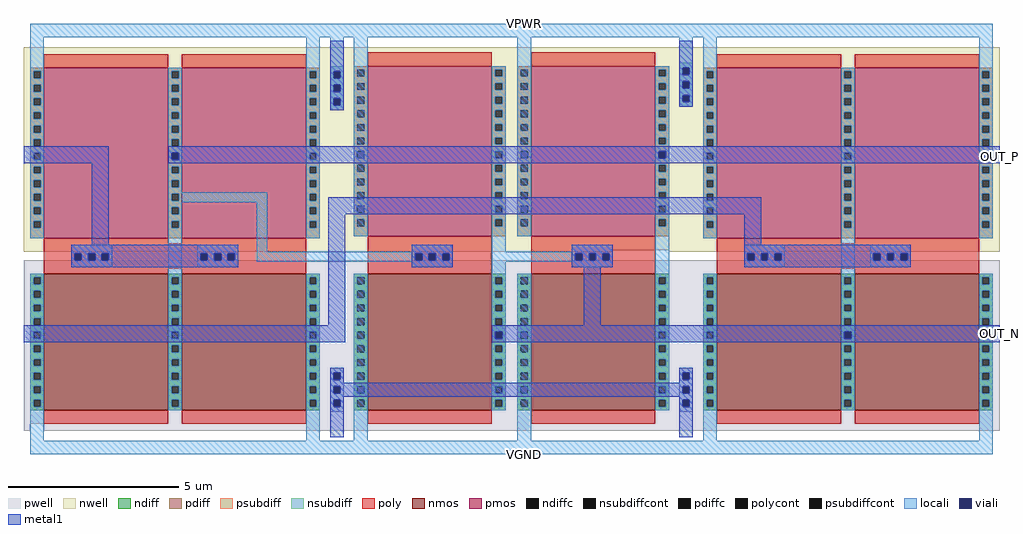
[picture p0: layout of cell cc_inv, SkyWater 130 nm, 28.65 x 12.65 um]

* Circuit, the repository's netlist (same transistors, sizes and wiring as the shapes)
** sch_path: /home/toind/work/sislab_vnu/vco_adc2/xschem/lib/cc_inv.sch
.subckt cc_inv inp inn outp outn VGND VDDA GND
*.PININFO outp:O inn:I VGND:B outn:O inp:I VDDA:B GND:B
Xi_1 inp outp VGND VDDA GND main_inv
Xi_2 inn outn VGND VDDA GND main_inv
Xi_3 outp outn VGND VDDA GND aux_inv
Xi_4 outn outp VGND VDDA GND aux_inv
.ends

* expanding   symbol:  main_inv.sym # of pins=5
** sym_path: /home/toind/work/sislab_vnu/vco_adc2/xschem/lib/main_inv.sym
** sch_path: /home/toind/work/sislab_vnu/vco_adc2/xschem/lib/main_inv.sch
.subckt main_inv A Y VGND VDDA GND
*.PININFO VDDA:B VGND:B A:I Y:O GND:B
XM2 Y A VGND GND sky130_fd_pr__nfet_01v8 L=3.65 W=8 nf=2 m=1
XM1 Y A VDDA VDDA sky130_fd_pr__pfet_01v8 L=3.65 W=10 nf=2 m=1
.ends


* expanding   symbol:  aux_inv.sym # of pins=5
** sym_path: /home/toind/work/sislab_vnu/vco_adc2/xschem/lib/aux_inv.sym
** sch_path: /home/toind/work/sislab_vnu/vco_adc2/xschem/lib/aux_inv.sch
.subckt aux_inv A Y VGND VDDA GND
*.PININFO VDDA:B VGND:B A:I Y:O GND:B
XM3 Y A VGND GND sky130_fd_pr__nfet_01v8 L=3.65 W=4 nf=1 m=1
XM2 Y A VDDA VDDA sky130_fd_pr__pfet_01v8 L=3.65 W=5 nf=1 m=1
.ends

.end

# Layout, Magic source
magic
tech sky130A
<< nwell >>
rect -60 1080 2805 1105
rect -60 925 -40 1080
rect 0 1070 1935 1080
rect 0 1060 910 1070
rect 950 1060 1390 1070
rect 1430 1060 1935 1070
rect 0 925 895 1060
rect -60 885 895 925
rect 1695 925 1935 1060
rect 1975 970 2805 1080
rect 1975 925 2710 970
rect 1695 885 2710 925
rect -60 550 2710 885
rect -60 515 1795 550
rect -60 505 1670 515
rect 1835 505 2710 550
<< pwell >>
rect -60 470 1670 480
rect -60 440 1795 470
rect 1835 440 2710 480
rect -60 160 0 440
rect 815 160 2710 440
rect -60 -20 -40 160
rect 815 40 910 160
rect 0 0 910 40
rect 950 5 1390 160
rect 1430 5 1935 160
rect 1975 120 2710 160
rect 1975 5 2805 120
rect 950 0 2805 5
rect 0 -20 2805 0
<< psubdiff >>
rect 840 150 880 165
rect 840 130 850 150
rect 870 130 880 150
rect 840 110 880 130
rect 840 90 850 110
rect 870 90 880 110
rect 840 70 880 90
rect 840 50 850 70
rect 870 50 880 70
rect 840 35 880 50
rect 1865 150 1905 165
rect 1865 130 1875 150
rect 1895 130 1905 150
rect 1865 110 1905 130
rect 1865 90 1875 110
rect 1895 90 1905 110
rect 1865 70 1905 90
rect 1865 50 1875 70
rect 1895 50 1905 70
rect 1865 35 1905 50
<< nsubdiff >>
rect 840 1035 880 1050
rect 840 1015 850 1035
rect 870 1015 880 1035
rect 840 995 880 1015
rect 840 975 850 995
rect 870 975 880 995
rect 840 955 880 975
rect 840 935 850 955
rect 870 935 880 955
rect 840 920 880 935
rect 1865 1045 1905 1060
rect 1865 1025 1875 1045
rect 1895 1025 1905 1045
rect 1865 1005 1905 1025
rect 1865 985 1875 1005
rect 1895 985 1905 1005
rect 1865 965 1905 985
rect 1865 945 1875 965
rect 1895 945 1905 965
rect 1865 930 1905 945
<< psubdiffcont >>
rect 850 130 870 150
rect 850 90 870 110
rect 850 50 870 70
rect 1875 130 1895 150
rect 1875 90 1895 110
rect 1875 50 1895 70
<< nsubdiffcont >>
rect 850 1015 870 1035
rect 850 975 870 995
rect 850 935 870 955
rect 1875 1025 1895 1045
rect 1875 985 1895 1005
rect 1875 945 1895 965
<< polycont >>
rect 1090 480 1110 500
rect 1130 480 1150 500
rect 1170 480 1190 500
rect 1560 480 1580 500
rect 1600 480 1620 500
rect 1640 480 1660 500
<< locali >>
rect 735 1135 2040 1175
rect 840 1035 880 1135
rect 910 1050 950 1135
rect 1390 1050 1430 1135
rect 840 1015 850 1035
rect 870 1015 880 1035
rect 840 995 880 1015
rect 840 975 850 995
rect 870 975 880 995
rect 840 955 880 975
rect 840 935 850 955
rect 870 935 880 955
rect 840 920 880 935
rect 1865 1045 1905 1135
rect 1865 1025 1875 1045
rect 1895 1025 1905 1045
rect 1865 1005 1905 1025
rect 1865 985 1875 1005
rect 1895 985 1905 1005
rect 1865 965 1905 985
rect 1865 945 1875 965
rect 1895 945 1905 965
rect 1865 930 1905 945
rect 405 650 655 680
rect 625 505 655 650
rect 1080 505 1200 525
rect 1550 505 1670 525
rect 625 500 1200 505
rect 625 480 1090 500
rect 1110 480 1130 500
rect 1150 480 1170 500
rect 1190 480 1200 500
rect 625 475 1200 480
rect 1355 500 1670 505
rect 1355 480 1560 500
rect 1580 480 1600 500
rect 1620 480 1640 500
rect 1660 480 1670 500
rect 1355 475 1670 480
rect 1080 460 1200 475
rect 1550 460 1670 475
rect 840 150 880 165
rect 840 130 850 150
rect 870 130 880 150
rect 840 110 880 130
rect 840 90 850 110
rect 870 90 880 110
rect 840 70 880 90
rect 840 50 850 70
rect 870 50 880 70
rect 840 35 880 50
rect 1865 150 1905 165
rect 1865 130 1875 150
rect 1895 130 1905 150
rect 1865 110 1905 130
rect 1865 90 1875 110
rect 1895 90 1905 110
rect 1865 70 1905 90
rect 1865 50 1875 70
rect 1895 50 1905 70
rect 910 -50 950 40
rect 1390 -50 1430 40
rect 1865 35 1905 50
rect 575 -90 1970 -50
<< viali >>
rect 850 1015 870 1035
rect 850 975 870 995
rect 850 935 870 955
rect 1875 1025 1895 1045
rect 1875 985 1895 1005
rect 1875 945 1895 965
rect 375 775 395 795
rect 1805 780 1825 800
rect 1090 480 1110 500
rect 1130 480 1150 500
rect 1170 480 1190 500
rect 1560 480 1580 500
rect 1600 480 1620 500
rect 1640 480 1660 500
rect 1325 250 1345 270
rect 2350 250 2370 270
rect 850 130 870 150
rect 850 90 870 110
rect 850 50 870 70
rect 1875 130 1895 150
rect 1875 90 1895 110
rect 1875 50 1895 70
<< metal1 >>
rect 840 1035 880 1125
rect 840 1015 850 1035
rect 870 1015 880 1035
rect 840 995 880 1015
rect 840 975 850 995
rect 870 975 880 995
rect 840 955 880 975
rect 840 935 850 955
rect 870 935 880 955
rect 840 920 880 935
rect 1865 1045 1905 1125
rect 1865 1025 1875 1045
rect 1895 1025 1905 1045
rect 1865 1005 1905 1025
rect 1865 985 1875 1005
rect 1895 985 1905 1005
rect 1865 965 1905 985
rect 1865 945 1875 965
rect 1895 945 1905 965
rect 1865 930 1905 945
rect -60 765 190 815
rect 365 800 2805 815
rect 365 795 1805 800
rect 365 775 375 795
rect 395 780 1805 795
rect 1825 780 2805 800
rect 395 775 2805 780
rect 365 765 2805 775
rect 140 525 190 765
rect 835 615 2105 665
rect 835 290 885 615
rect 2055 525 2105 615
rect 1080 500 1200 525
rect 1080 480 1090 500
rect 1110 480 1130 500
rect 1150 480 1170 500
rect 1190 480 1200 500
rect 1080 460 1200 480
rect 1550 500 1670 525
rect 1550 480 1560 500
rect 1580 480 1600 500
rect 1620 480 1640 500
rect 1660 480 1670 500
rect 1550 460 1670 480
rect 1585 290 1635 460
rect -60 240 885 290
rect 1315 270 2805 290
rect 1315 250 1325 270
rect 1345 250 2350 270
rect 2370 250 2805 270
rect 1315 240 2805 250
rect 840 150 880 165
rect 840 130 850 150
rect 870 130 880 150
rect 840 120 880 130
rect 1865 150 1905 165
rect 1865 130 1875 150
rect 1895 130 1905 150
rect 1865 120 1905 130
rect 840 110 1905 120
rect 840 90 850 110
rect 870 90 1875 110
rect 1895 90 1905 110
rect 840 80 1905 90
rect 840 70 880 80
rect 840 50 850 70
rect 870 50 880 70
rect 840 -40 880 50
rect 1865 70 1905 80
rect 1865 50 1875 70
rect 1895 50 1905 70
rect 1865 -40 1905 50
use aux_inv_vco  aux_inv_vco_0
transform 1 0 885 0 1 500
box 0 -500 490 590
use aux_inv_vco  aux_inv_vco_1
transform 1 0 1365 0 1 500
box 0 -500 490 590
use main_inv_vco  main_inv_vco_0
transform 1 0 -1060 0 1 545
box 1000 -635 1890 630
use main_inv_vco  main_inv_vco_1
transform 1 0 915 0 1 545
box 1000 -635 1890 630
<< labels >>
rlabel metal1 2805 785 2805 785 3 OUT_P
port 3 e
rlabel metal1 2805 265 2805 265 3 OUT_N
port 4 e
rlabel locali 1410 1175 1410 1175 1 VPWR
port 5 n
rlabel locali 1410 -90 1410 -90 5 VGND
port 6 s
<< end >>

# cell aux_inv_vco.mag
magic
tech sky130A
<< nwell >>
rect 0 10 490 590
<< poly >>
rect 65 -20 430 10
<< locali >>
rect 25 50 65 550
rect 430 -60 470 50
rect 25 -460 65 -60
use nmos_vco_aux  nmos_vco_aux_0
transform 1 0 65 0 1 -460
box -60 -40 425 440
use pmos_vco_aux  pmos_vco_aux_0
transform 1 0 65 0 1 50
box -65 -40 425 540
<< labels >>
rlabel locali 470 -5 470 -5 3 D
port 1 e
rlabel poly 65 -5 65 -5 7 G
port 2 w
rlabel locali 45 50 45 50 5 S_P
port 3 s
rlabel locali 45 -460 45 -460 5 S_N
port 4 s
rlabel nwell 15 575 15 575 1 VPWR
port 5 n
<< end >>

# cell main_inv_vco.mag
magic
tech sky130A
<< nwell >>
rect 1425 500 1465 540
rect 1830 -40 1890 540
<< poly >>
rect 1060 -45 1425 -40
rect 1060 -65 1150 -45
rect 1170 -65 1190 -45
rect 1210 -65 1230 -45
rect 1250 -65 1425 -45
rect 1465 -45 1830 -40
rect 1465 -65 1520 -45
rect 1540 -65 1560 -45
rect 1580 -65 1600 -45
rect 1620 -65 1830 -45
<< polycont >>
rect 1150 -65 1170 -45
rect 1190 -65 1210 -45
rect 1230 -65 1250 -45
rect 1520 -65 1540 -45
rect 1560 -65 1580 -45
rect 1600 -65 1620 -45
<< locali >>
rect 1020 590 1870 630
rect 1020 500 1060 590
rect 1830 500 1870 590
rect 1140 -45 1260 -20
rect 1140 -65 1150 -45
rect 1170 -65 1190 -45
rect 1210 -65 1230 -45
rect 1250 -65 1260 -45
rect 1140 -85 1260 -65
rect 1425 -105 1465 0
rect 1510 -45 1630 -20
rect 1510 -65 1520 -45
rect 1540 -65 1560 -45
rect 1580 -65 1600 -45
rect 1620 -65 1630 -45
rect 1510 -85 1630 -65
rect 1020 -595 1060 -505
rect 1830 -595 1870 -505
rect 1020 -635 1870 -595
<< viali >>
rect 1150 -65 1170 -45
rect 1190 -65 1210 -45
rect 1230 -65 1250 -45
rect 1520 -65 1540 -45
rect 1560 -65 1580 -45
rect 1600 -65 1620 -45
<< metal1 >>
rect 1140 -45 1630 -20
rect 1140 -65 1150 -45
rect 1170 -65 1190 -45
rect 1210 -65 1230 -45
rect 1250 -65 1520 -45
rect 1540 -65 1560 -45
rect 1580 -65 1600 -45
rect 1620 -65 1630 -45
rect 1140 -85 1630 -65
use nmos_vco  nmos_vco_0
transform 1 0 1060 0 1 -505
box -60 -130 830 490
use pmos_vco  pmos_vco_0
transform 1 0 1060 0 1 0
box -60 -90 830 630
<< labels >>
rlabel locali 1445 -5 1445 -5 1 D
port 1 n
rlabel metal1 1445 -50 1445 -50 1 G
port 2 n
rlabel locali 1440 600 1440 600 1 S_P
port 3 n
rlabel locali 1445 -600 1445 -600 1 S_N
port 4 n
rlabel nwell 1445 530 1445 530 1 VPWR
port 5 n
<< end >>

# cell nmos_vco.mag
magic
tech sky130A
<< pwell >>
rect -60 -40 830 440
<< nmos >>
rect 0 0 365 400
rect 405 0 770 400
<< ndiff >>
rect -40 390 0 400
rect -40 370 -30 390
rect -10 370 0 390
rect -40 350 0 370
rect -40 330 -30 350
rect -10 330 0 350
rect -40 310 0 330
rect -40 290 -30 310
rect -10 290 0 310
rect -40 270 0 290
rect -40 250 -30 270
rect -10 250 0 270
rect -40 230 0 250
rect -40 210 -30 230
rect -10 210 0 230
rect -40 190 0 210
rect -40 170 -30 190
rect -10 170 0 190
rect -40 150 0 170
rect -40 130 -30 150
rect -10 130 0 150
rect -40 110 0 130
rect -40 90 -30 110
rect -10 90 0 110
rect -40 70 0 90
rect -40 50 -30 70
rect -10 50 0 70
rect -40 30 0 50
rect -40 10 -30 30
rect -10 10 0 30
rect -40 0 0 10
rect 365 390 405 400
rect 365 370 375 390
rect 395 370 405 390
rect 365 350 405 370
rect 365 330 375 350
rect 395 330 405 350
rect 365 310 405 330
rect 365 290 375 310
rect 395 290 405 310
rect 365 270 405 290
rect 365 250 375 270
rect 395 250 405 270
rect 365 230 405 250
rect 365 210 375 230
rect 395 210 405 230
rect 365 190 405 210
rect 365 170 375 190
rect 395 170 405 190
rect 365 150 405 170
rect 365 130 375 150
rect 395 130 405 150
rect 365 110 405 130
rect 365 90 375 110
rect 395 90 405 110
rect 365 70 405 90
rect 365 50 375 70
rect 395 50 405 70
rect 365 30 405 50
rect 365 10 375 30
rect 395 10 405 30
rect 365 0 405 10
rect 770 390 810 400
rect 770 370 780 390
rect 800 370 810 390
rect 770 350 810 370
rect 770 330 780 350
rect 800 330 810 350
rect 770 310 810 330
rect 770 290 780 310
rect 800 290 810 310
rect 770 270 810 290
rect 770 250 780 270
rect 800 250 810 270
rect 770 230 810 250
rect 770 210 780 230
rect 800 210 810 230
rect 770 190 810 210
rect 770 170 780 190
rect 800 170 810 190
rect 770 150 810 170
rect 770 130 780 150
rect 800 130 810 150
rect 770 110 810 130
rect 770 90 780 110
rect 800 90 810 110
rect 770 70 810 90
rect 770 50 780 70
rect 800 50 810 70
rect 770 30 810 50
rect 770 10 780 30
rect 800 10 810 30
rect 770 0 810 10
<< ndiffc >>
rect -30 370 -10 390
rect -30 330 -10 350
rect -30 290 -10 310
rect -30 250 -10 270
rect -30 210 -10 230
rect -30 170 -10 190
rect -30 130 -10 150
rect -30 90 -10 110
rect -30 50 -10 70
rect -30 10 -10 30
rect 375 370 395 390
rect 375 330 395 350
rect 375 290 395 310
rect 375 250 395 270
rect 375 210 395 230
rect 375 170 395 190
rect 375 130 395 150
rect 375 90 395 110
rect 375 50 395 70
rect 375 10 395 30
rect 780 370 800 390
rect 780 330 800 350
rect 780 290 800 310
rect 780 250 800 270
rect 780 210 800 230
rect 780 170 800 190
rect 780 130 800 150
rect 780 90 800 110
rect 780 50 800 70
rect 780 10 800 30
<< poly >>
rect 0 440 770 490
rect 0 400 365 440
rect 405 400 770 440
rect 0 -40 365 0
rect 405 -40 770 0
<< locali >>
rect -40 390 0 400
rect -40 370 -30 390
rect -10 370 0 390
rect -40 350 0 370
rect -40 330 -30 350
rect -10 330 0 350
rect -40 310 0 330
rect -40 290 -30 310
rect -10 290 0 310
rect -40 270 0 290
rect -40 250 -30 270
rect -10 250 0 270
rect -40 230 0 250
rect -40 210 -30 230
rect -10 210 0 230
rect -40 190 0 210
rect -40 170 -30 190
rect -10 170 0 190
rect -40 150 0 170
rect -40 130 -30 150
rect -10 130 0 150
rect -40 110 0 130
rect -40 90 -30 110
rect -10 90 0 110
rect -40 70 0 90
rect -40 50 -30 70
rect -10 50 0 70
rect -40 30 0 50
rect -40 10 -30 30
rect -10 10 0 30
rect -40 -90 0 10
rect 365 390 405 400
rect 365 370 375 390
rect 395 370 405 390
rect 365 350 405 370
rect 365 330 375 350
rect 395 330 405 350
rect 365 310 405 330
rect 365 290 375 310
rect 395 290 405 310
rect 365 270 405 290
rect 365 250 375 270
rect 395 250 405 270
rect 365 230 405 250
rect 365 210 375 230
rect 395 210 405 230
rect 365 190 405 210
rect 365 170 375 190
rect 395 170 405 190
rect 365 150 405 170
rect 365 130 375 150
rect 395 130 405 150
rect 365 110 405 130
rect 365 90 375 110
rect 395 90 405 110
rect 365 70 405 90
rect 365 50 375 70
rect 395 50 405 70
rect 365 30 405 50
rect 365 10 375 30
rect 395 10 405 30
rect 365 0 405 10
rect 770 390 810 400
rect 770 370 780 390
rect 800 370 810 390
rect 770 350 810 370
rect 770 330 780 350
rect 800 330 810 350
rect 770 310 810 330
rect 770 290 780 310
rect 800 290 810 310
rect 770 270 810 290
rect 770 250 780 270
rect 800 250 810 270
rect 770 230 810 250
rect 770 210 780 230
rect 800 210 810 230
rect 770 190 810 210
rect 770 170 780 190
rect 800 170 810 190
rect 770 150 810 170
rect 770 130 780 150
rect 800 130 810 150
rect 770 110 810 130
rect 770 90 780 110
rect 800 90 810 110
rect 770 70 810 90
rect 770 50 780 70
rect 800 50 810 70
rect 770 30 810 50
rect 770 10 780 30
rect 800 10 810 30
rect 770 -90 810 10
rect -40 -130 810 -90
<< labels >>
rlabel locali 385 5 385 5 5 D
port 1 s
rlabel poly 385 470 385 470 1 G
port 2 n
rlabel locali 385 -110 385 -110 1 S
port 3 n
<< end >>

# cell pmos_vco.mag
magic
tech sky130A
<< nwell >>
rect -60 -40 830 540
<< pmos >>
rect 0 0 365 500
rect 405 0 770 500
<< pdiff >>
rect -40 490 0 500
rect -40 470 -30 490
rect -10 470 0 490
rect -40 450 0 470
rect -40 430 -30 450
rect -10 430 0 450
rect -40 410 0 430
rect -40 390 -30 410
rect -10 390 0 410
rect -40 370 0 390
rect -40 350 -30 370
rect -10 350 0 370
rect -40 330 0 350
rect -40 310 -30 330
rect -10 310 0 330
rect -40 290 0 310
rect -40 270 -30 290
rect -10 270 0 290
rect -40 250 0 270
rect -40 230 -30 250
rect -10 230 0 250
rect -40 210 0 230
rect -40 190 -30 210
rect -10 190 0 210
rect -40 170 0 190
rect -40 150 -30 170
rect -10 150 0 170
rect -40 130 0 150
rect -40 110 -30 130
rect -10 110 0 130
rect -40 90 0 110
rect -40 70 -30 90
rect -10 70 0 90
rect -40 50 0 70
rect -40 30 -30 50
rect -10 30 0 50
rect -40 0 0 30
rect 365 490 405 500
rect 365 470 375 490
rect 395 470 405 490
rect 365 450 405 470
rect 365 430 375 450
rect 395 430 405 450
rect 365 410 405 430
rect 365 390 375 410
rect 395 390 405 410
rect 365 370 405 390
rect 365 350 375 370
rect 395 350 405 370
rect 365 330 405 350
rect 365 310 375 330
rect 395 310 405 330
rect 365 290 405 310
rect 365 270 375 290
rect 395 270 405 290
rect 365 250 405 270
rect 365 230 375 250
rect 395 230 405 250
rect 365 210 405 230
rect 365 190 375 210
rect 395 190 405 210
rect 365 170 405 190
rect 365 150 375 170
rect 395 150 405 170
rect 365 130 405 150
rect 365 110 375 130
rect 395 110 405 130
rect 365 90 405 110
rect 365 70 375 90
rect 395 70 405 90
rect 365 50 405 70
rect 365 30 375 50
rect 395 30 405 50
rect 365 0 405 30
rect 770 490 810 500
rect 770 470 780 490
rect 800 470 810 490
rect 770 450 810 470
rect 770 430 780 450
rect 800 430 810 450
rect 770 410 810 430
rect 770 390 780 410
rect 800 390 810 410
rect 770 370 810 390
rect 770 350 780 370
rect 800 350 810 370
rect 770 330 810 350
rect 770 310 780 330
rect 800 310 810 330
rect 770 290 810 310
rect 770 270 780 290
rect 800 270 810 290
rect 770 250 810 270
rect 770 230 780 250
rect 800 230 810 250
rect 770 210 810 230
rect 770 190 780 210
rect 800 190 810 210
rect 770 170 810 190
rect 770 150 780 170
rect 800 150 810 170
rect 770 130 810 150
rect 770 110 780 130
rect 800 110 810 130
rect 770 90 810 110
rect 770 70 780 90
rect 800 70 810 90
rect 770 50 810 70
rect 770 30 780 50
rect 800 30 810 50
rect 770 0 810 30
<< pdiffc >>
rect -30 470 -10 490
rect -30 430 -10 450
rect -30 390 -10 410
rect -30 350 -10 370
rect -30 310 -10 330
rect -30 270 -10 290
rect -30 230 -10 250
rect -30 190 -10 210
rect -30 150 -10 170
rect -30 110 -10 130
rect -30 70 -10 90
rect -30 30 -10 50
rect 375 470 395 490
rect 375 430 395 450
rect 375 390 395 410
rect 375 350 395 370
rect 375 310 395 330
rect 375 270 395 290
rect 375 230 395 250
rect 375 190 395 210
rect 375 150 395 170
rect 375 110 395 130
rect 375 70 395 90
rect 375 30 395 50
rect 780 470 800 490
rect 780 430 800 450
rect 780 390 800 410
rect 780 350 800 370
rect 780 310 800 330
rect 780 270 800 290
rect 780 230 800 250
rect 780 190 800 210
rect 780 150 800 170
rect 780 110 800 130
rect 780 70 800 90
rect 780 30 800 50
<< poly >>
rect 0 500 365 540
rect 405 500 770 540
rect 0 -40 365 0
rect 405 -40 770 0
rect 0 -90 770 -40
<< locali >>
rect -40 590 810 630
rect -40 490 0 590
rect -40 470 -30 490
rect -10 470 0 490
rect -40 450 0 470
rect -40 430 -30 450
rect -10 430 0 450
rect -40 410 0 430
rect -40 390 -30 410
rect -10 390 0 410
rect -40 370 0 390
rect -40 350 -30 370
rect -10 350 0 370
rect -40 330 0 350
rect -40 310 -30 330
rect -10 310 0 330
rect -40 290 0 310
rect -40 270 -30 290
rect -10 270 0 290
rect -40 250 0 270
rect -40 230 -30 250
rect -10 230 0 250
rect -40 210 0 230
rect -40 190 -30 210
rect -10 190 0 210
rect -40 170 0 190
rect -40 150 -30 170
rect -10 150 0 170
rect -40 130 0 150
rect -40 110 -30 130
rect -10 110 0 130
rect -40 90 0 110
rect -40 70 -30 90
rect -10 70 0 90
rect -40 50 0 70
rect -40 30 -30 50
rect -10 30 0 50
rect -40 0 0 30
rect 365 490 405 500
rect 365 470 375 490
rect 395 470 405 490
rect 365 450 405 470
rect 365 430 375 450
rect 395 430 405 450
rect 365 410 405 430
rect 365 390 375 410
rect 395 390 405 410
rect 365 370 405 390
rect 365 350 375 370
rect 395 350 405 370
rect 365 330 405 350
rect 365 310 375 330
rect 395 310 405 330
rect 365 290 405 310
rect 365 270 375 290
rect 395 270 405 290
rect 365 250 405 270
rect 365 230 375 250
rect 395 230 405 250
rect 365 210 405 230
rect 365 190 375 210
rect 395 190 405 210
rect 365 170 405 190
rect 365 150 375 170
rect 395 150 405 170
rect 365 130 405 150
rect 365 110 375 130
rect 395 110 405 130
rect 365 90 405 110
rect 365 70 375 90
rect 395 70 405 90
rect 365 50 405 70
rect 365 30 375 50
rect 395 30 405 50
rect 365 0 405 30
rect 770 490 810 590
rect 770 470 780 490
rect 800 470 810 490
rect 770 450 810 470
rect 770 430 780 450
rect 800 430 810 450
rect 770 410 810 430
rect 770 390 780 410
rect 800 390 810 410
rect 770 370 810 390
rect 770 350 780 370
rect 800 350 810 370
rect 770 330 810 350
rect 770 310 780 330
rect 800 310 810 330
rect 770 290 810 310
rect 770 270 780 290
rect 800 270 810 290
rect 770 250 810 270
rect 770 230 780 250
rect 800 230 810 250
rect 770 210 810 230
rect 770 190 780 210
rect 800 190 810 210
rect 770 170 810 190
rect 770 150 780 170
rect 800 150 810 170
rect 770 130 810 150
rect 770 110 780 130
rect 800 110 810 130
rect 770 90 810 110
rect 770 70 780 90
rect 800 70 810 90
rect 770 50 810 70
rect 770 30 780 50
rect 800 30 810 50
rect 770 0 810 30
<< labels >>
rlabel locali 385 495 385 495 1 D
port 1 n
rlabel poly 385 -70 385 -70 1 G
port 2 n
rlabel locali 385 610 385 610 1 S
port 3 n
rlabel nwell 385 520 385 520 1 VPWR
port 4 n
<< end >>

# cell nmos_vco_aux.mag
magic
tech sky130A
<< pwell >>
rect -60 -40 425 440
<< nmos >>
rect 0 0 365 400
<< ndiff >>
rect -40 390 0 400
rect -40 370 -30 390
rect -10 370 0 390
rect -40 350 0 370
rect -40 330 -30 350
rect -10 330 0 350
rect -40 310 0 330
rect -40 290 -30 310
rect -10 290 0 310
rect -40 270 0 290
rect -40 250 -30 270
rect -10 250 0 270
rect -40 230 0 250
rect -40 210 -30 230
rect -10 210 0 230
rect -40 190 0 210
rect -40 170 -30 190
rect -10 170 0 190
rect -40 150 0 170
rect -40 130 -30 150
rect -10 130 0 150
rect -40 110 0 130
rect -40 90 -30 110
rect -10 90 0 110
rect -40 70 0 90
rect -40 50 -30 70
rect -10 50 0 70
rect -40 30 0 50
rect -40 10 -30 30
rect -10 10 0 30
rect -40 0 0 10
rect 365 390 405 400
rect 365 370 375 390
rect 395 370 405 390
rect 365 350 405 370
rect 365 330 375 350
rect 395 330 405 350
rect 365 310 405 330
rect 365 290 375 310
rect 395 290 405 310
rect 365 270 405 290
rect 365 250 375 270
rect 395 250 405 270
rect 365 230 405 250
rect 365 210 375 230
rect 395 210 405 230
rect 365 190 405 210
rect 365 170 375 190
rect 395 170 405 190
rect 365 150 405 170
rect 365 130 375 150
rect 395 130 405 150
rect 365 110 405 130
rect 365 90 375 110
rect 395 90 405 110
rect 365 70 405 90
rect 365 50 375 70
rect 395 50 405 70
rect 365 30 405 50
rect 365 10 375 30
rect 395 10 405 30
rect 365 0 405 10
<< ndiffc >>
rect -30 370 -10 390
rect -30 330 -10 350
rect -30 290 -10 310
rect -30 250 -10 270
rect -30 210 -10 230
rect -30 170 -10 190
rect -30 130 -10 150
rect -30 90 -10 110
rect -30 50 -10 70
rect -30 10 -10 30
rect 375 370 395 390
rect 375 330 395 350
rect 375 290 395 310
rect 375 250 395 270
rect 375 210 395 230
rect 375 170 395 190
rect 375 130 395 150
rect 375 90 395 110
rect 375 50 395 70
rect 375 10 395 30
<< poly >>
rect 0 400 365 440
rect 0 -40 365 0
<< locali >>
rect -40 390 0 400
rect -40 370 -30 390
rect -10 370 0 390
rect -40 350 0 370
rect -40 330 -30 350
rect -10 330 0 350
rect -40 310 0 330
rect -40 290 -30 310
rect -10 290 0 310
rect -40 270 0 290
rect -40 250 -30 270
rect -10 250 0 270
rect -40 230 0 250
rect -40 210 -30 230
rect -10 210 0 230
rect -40 190 0 210
rect -40 170 -30 190
rect -10 170 0 190
rect -40 150 0 170
rect -40 130 -30 150
rect -10 130 0 150
rect -40 110 0 130
rect -40 90 -30 110
rect -10 90 0 110
rect -40 70 0 90
rect -40 50 -30 70
rect -10 50 0 70
rect -40 30 0 50
rect -40 10 -30 30
rect -10 10 0 30
rect -40 0 0 10
rect 365 390 405 400
rect 365 370 375 390
rect 395 370 405 390
rect 365 350 405 370
rect 365 330 375 350
rect 395 330 405 350
rect 365 310 405 330
rect 365 290 375 310
rect 395 290 405 310
rect 365 270 405 290
rect 365 250 375 270
rect 395 250 405 270
rect 365 230 405 250
rect 365 210 375 230
rect 395 210 405 230
rect 365 190 405 210
rect 365 170 375 190
rect 395 170 405 190
rect 365 150 405 170
rect 365 130 375 150
rect 395 130 405 150
rect 365 110 405 130
rect 365 90 375 110
rect 395 90 405 110
rect 365 70 405 90
rect 365 50 375 70
rect 395 50 405 70
rect 365 30 405 50
rect 365 10 375 30
rect 395 10 405 30
rect 365 0 405 10
<< labels >>
rlabel locali 385 400 385 400 1 D
port 1 n
rlabel poly 185 440 185 440 1 G
port 2 n
rlabel locali -20 400 -20 400 1 S
port 3 n
<< end >>

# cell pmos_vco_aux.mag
magic
tech sky130A
<< nwell >>
rect -65 -40 425 540
<< pmos >>
rect 0 0 365 500
<< pdiff >>
rect -40 490 0 500
rect -40 470 -30 490
rect -10 470 0 490
rect -40 450 0 470
rect -40 430 -30 450
rect -10 430 0 450
rect -40 410 0 430
rect -40 390 -30 410
rect -10 390 0 410
rect -40 370 0 390
rect -40 350 -30 370
rect -10 350 0 370
rect -40 330 0 350
rect -40 310 -30 330
rect -10 310 0 330
rect -40 290 0 310
rect -40 270 -30 290
rect -10 270 0 290
rect -40 250 0 270
rect -40 230 -30 250
rect -10 230 0 250
rect -40 210 0 230
rect -40 190 -30 210
rect -10 190 0 210
rect -40 170 0 190
rect -40 150 -30 170
rect -10 150 0 170
rect -40 130 0 150
rect -40 110 -30 130
rect -10 110 0 130
rect -40 90 0 110
rect -40 70 -30 90
rect -10 70 0 90
rect -40 50 0 70
rect -40 30 -30 50
rect -10 30 0 50
rect -40 0 0 30
rect 365 490 405 500
rect 365 470 375 490
rect 395 470 405 490
rect 365 450 405 470
rect 365 430 375 450
rect 395 430 405 450
rect 365 410 405 430
rect 365 390 375 410
rect 395 390 405 410
rect 365 370 405 390
rect 365 350 375 370
rect 395 350 405 370
rect 365 330 405 350
rect 365 310 375 330
rect 395 310 405 330
rect 365 290 405 310
rect 365 270 375 290
rect 395 270 405 290
rect 365 250 405 270
rect 365 230 375 250
rect 395 230 405 250
rect 365 210 405 230
rect 365 190 375 210
rect 395 190 405 210
rect 365 170 405 190
rect 365 150 375 170
rect 395 150 405 170
rect 365 130 405 150
rect 365 110 375 130
rect 395 110 405 130
rect 365 90 405 110
rect 365 70 375 90
rect 395 70 405 90
rect 365 50 405 70
rect 365 30 375 50
rect 395 30 405 50
rect 365 0 405 30
<< pdiffc >>
rect -30 470 -10 490
rect -30 430 -10 450
rect -30 390 -10 410
rect -30 350 -10 370
rect -30 310 -10 330
rect -30 270 -10 290
rect -30 230 -10 250
rect -30 190 -10 210
rect -30 150 -10 170
rect -30 110 -10 130
rect -30 70 -10 90
rect -30 30 -10 50
rect 375 470 395 490
rect 375 430 395 450
rect 375 390 395 410
rect 375 350 395 370
rect 375 310 395 330
rect 375 270 395 290
rect 375 230 395 250
rect 375 190 395 210
rect 375 150 395 170
rect 375 110 395 130
rect 375 70 395 90
rect 375 30 395 50
<< poly >>
rect 0 500 365 540
rect 0 -40 365 0
<< locali >>
rect -40 490 0 500
rect -40 470 -30 490
rect -10 470 0 490
rect -40 450 0 470
rect -40 430 -30 450
rect -10 430 0 450
rect -40 410 0 430
rect -40 390 -30 410
rect -10 390 0 410
rect -40 370 0 390
rect -40 350 -30 370
rect -10 350 0 370
rect -40 330 0 350
rect -40 310 -30 330
rect -10 310 0 330
rect -40 290 0 310
rect -40 270 -30 290
rect -10 270 0 290
rect -40 250 0 270
rect -40 230 -30 250
rect -10 230 0 250
rect -40 210 0 230
rect -40 190 -30 210
rect -10 190 0 210
rect -40 170 0 190
rect -40 150 -30 170
rect -10 150 0 170
rect -40 130 0 150
rect -40 110 -30 130
rect -10 110 0 130
rect -40 90 0 110
rect -40 70 -30 90
rect -10 70 0 90
rect -40 50 0 70
rect -40 30 -30 50
rect -10 30 0 50
rect -40 0 0 30
rect 365 490 405 500
rect 365 470 375 490
rect 395 470 405 490
rect 365 450 405 470
rect 365 430 375 450
rect 395 430 405 450
rect 365 410 405 430
rect 365 390 375 410
rect 395 390 405 410
rect 365 370 405 390
rect 365 350 375 370
rect 395 350 405 370
rect 365 330 405 350
rect 365 310 375 330
rect 395 310 405 330
rect 365 290 405 310
rect 365 270 375 290
rect 395 270 405 290
rect 365 250 405 270
rect 365 230 375 250
rect 395 230 405 250
rect 365 210 405 230
rect 365 190 375 210
rect 395 190 405 210
rect 365 170 405 190
rect 365 150 375 170
rect 395 150 405 170
rect 365 130 405 150
rect 365 110 375 130
rect 395 110 405 130
rect 365 90 405 110
rect 365 70 375 90
rect 395 70 405 90
rect 365 50 405 70
rect 365 30 375 50
rect 395 30 405 50
rect 365 0 405 30
<< labels >>
rlabel locali 385 500 385 500 1 D
port 1 n
rlabel poly 180 540 180 540 1 G
port 2 n
rlabel locali -20 500 -20 500 1 S
port 3 n
rlabel nwell -35 525 -35 525 1 VPWR
port 4 n
<< end >>
